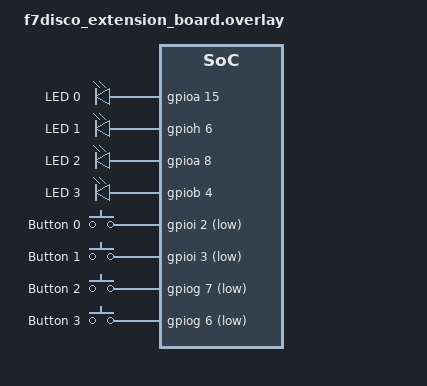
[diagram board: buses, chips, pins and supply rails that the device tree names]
/*
 * Copyright (c) 2024 HES-SO Valais, ECS, Sion
 *
 * SPDX-License-Identifier: Apache-2.0
 */

/ {
    leds {
        compatible = "gpio-leds";

        ext_led0: ext_led0 {
            gpios = <&gpioa 15 GPIO_ACTIVE_HIGH>;
            label = "LED 0";
        };

        ext_led1: ext_led1 {
            gpios = <&gpioh 6 GPIO_ACTIVE_HIGH>;
            label = "LED 1";
        };

        ext_led2: ext_led2 {
            gpios = <&gpioa 8 GPIO_ACTIVE_HIGH>;
            label = "LED 2";
        };

        ext_led3: ext_led3 {
            gpios = <&gpiob 4 GPIO_ACTIVE_HIGH>;
            label = "LED 3";
        };
    };

    buttons {
        /* TODO: Add buttons for the extension board. */
        
        compatible = "gpio-keys";
        button0: button0 {
            gpios = <&gpioi 2 GPIO_ACTIVE_LOW>;  // PI2
            label = "Button 0";
        };
        button1: button1 {
            gpios = <&gpioi 3 GPIO_ACTIVE_LOW>;  // PI3
            label = "Button 1";
        };
        button2: button2 {
            gpios = <&gpiog 7 GPIO_ACTIVE_LOW>;  // PG7
            label = "Button 2";
        };
        button3: button3 {
            gpios = <&gpiog 6 GPIO_ACTIVE_LOW>;  // PG6
            label = "Button 3";
        };
    };

    aliases {
        ext-led0 = &ext_led0;
        ext-led1 = &ext_led1;
        ext-led2 = &ext_led2;
        ext-led3 = &ext_led3;
        
        /* TODO: Add aliases to buttons needed by the 'board/hal/buttons' package. */
        
        button-0 = &button0;
        button-1 = &button1;
        button-2 = &button2;
        button-3 = &button3;    
    };
};
